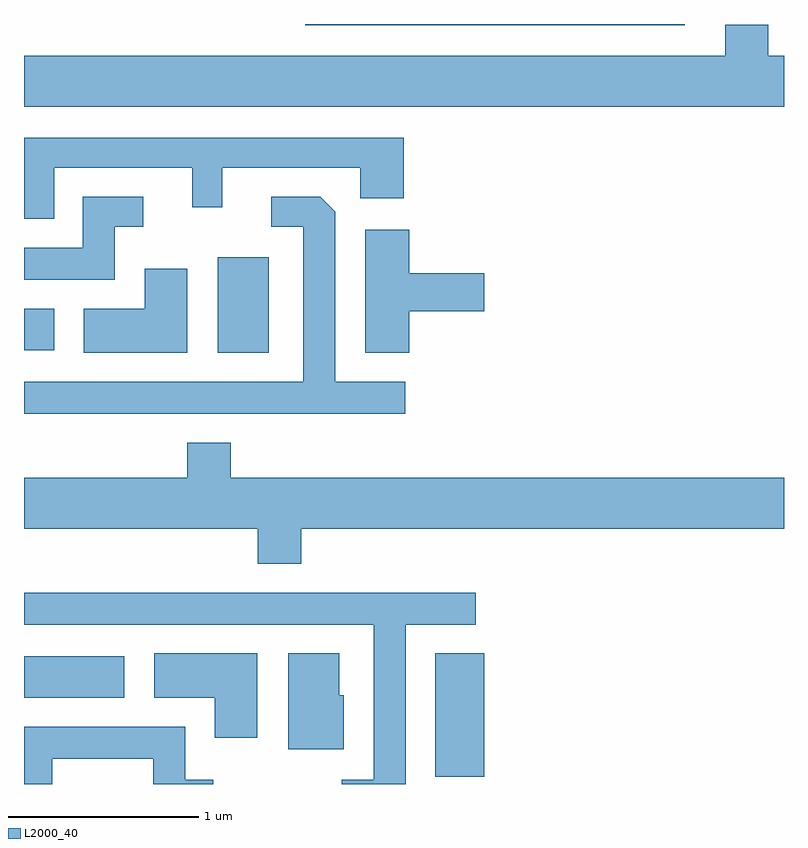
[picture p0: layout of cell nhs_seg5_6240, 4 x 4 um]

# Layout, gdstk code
import gdstk
lib = gdstk.Library(unit=1e-6, precision=1e-09)
def R(c, l, rs):  # rectangles x0, y0, x1, y1
    for r in rs: c.add(gdstk.rectangle(r[:2], r[2:], *l))
def P(c, l, *ps):  # polygons
    for p in ps: c.add(gdstk.Polygon(p, *l))
L2000_40 = (2000, 40)

nhs_seg5_6240 = lib.new_cell('nhs_seg5_6240')
R(nhs_seg5_6240, L2000_40, [(371.776,1502.111,372.034,1502.759), (369.611,1502.526,370.139,1502.744), (370.631,1504.341,370.899,1504.844), (369.611,1504.356,369.769,1504.574), (371.091,1506.066,373.089,1506.072)])
P(nhs_seg5_6240, L2000_40, [(373.611,1505.904),(373.529,1505.904),(373.529,1506.069),(373.301,1506.069),(373.301,1505.904),(369.611,1505.904),(369.611,1505.636),(373.611,1505.636)],
  [(369.769,1505.316),(370.496,1505.316),(370.496,1505.108),(370.654,1505.108),(370.654,1505.316),(371.381,1505.316),(371.381,1505.156),(371.609,1505.156),(371.609,1505.474),(369.611,1505.474),(369.611,1505.046),(369.769,1505.046)],
  [(371.618,1504.189),(371.249,1504.189),(371.249,1505.084),(371.169,1505.164),(370.913,1505.164),(370.913,1505.006),(371.081,1505.006),(371.081,1504.189),(369.611,1504.189),(369.611,1504.021),(371.618,1504.021)],
  [(370.089,1505.006),(370.238,1505.006),(370.238,1505.164),(369.921,1505.164),(369.921,1504.894),(369.611,1504.894),(369.611,1504.726),(370.089,1504.726)],
  [(371.639,1504.561),(372.034,1504.561),(372.034,1504.759),(371.639,1504.759),(371.639,1504.989),(371.406,1504.989),(371.406,1504.341),(371.639,1504.341)],
  [(370.469,1504.784),(370.246,1504.784),(370.246,1504.574),(369.926,1504.574),(369.926,1504.341),(370.469,1504.341)],
  [(371.069,1503.416),(373.611,1503.416),(373.611,1503.684),(370.699,1503.684),(370.699,1503.869),(370.471,1503.869),(370.471,1503.684),(369.611,1503.684),(369.611,1503.416),(370.841,1503.416),(370.841,1503.231),(371.069,1503.231)],
  [(371.619,1502.911),(371.988,1502.911),(371.988,1503.079),(369.611,1503.079),(369.611,1502.911),(371.451,1502.911),(371.451,1502.094),(371.283,1502.094),(371.283,1502.072),(371.619,1502.072)],
  [(371.294,1502.539),(371.269,1502.539),(371.269,1502.759),(371.001,1502.759),(371.001,1502.256),(371.294,1502.256)],
  [(370.839,1502.759),(370.296,1502.759),(370.296,1502.526),(370.616,1502.526),(370.616,1502.316),(370.839,1502.316)],
  [(369.759,1502.206),(370.291,1502.206),(370.291,1502.072),(370.608,1502.072),(370.608,1502.094),(370.459,1502.094),(370.459,1502.374),(369.611,1502.374),(369.611,1502.072),(369.759,1502.072)])

lib.write_gds('nhs_seg5_6240.gds')
